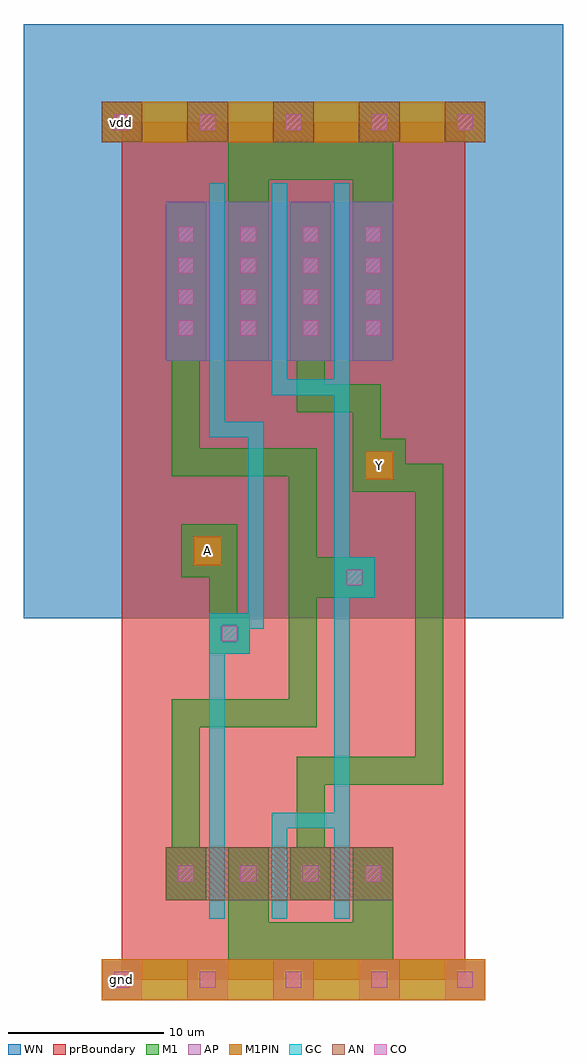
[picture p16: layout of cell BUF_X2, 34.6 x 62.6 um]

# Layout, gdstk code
import gdstk
lib = gdstk.Library(unit=1e-6, precision=1e-09)
def R(c, l, rs):  # rectangles x0, y0, x1, y1
    for r in rs: c.add(gdstk.rectangle(r[:2], r[2:], *l))
def A(c, l, x, y, w, h, nx, ny, dx, dy):  # array of equal rectangles
    R(c, l, [(x+i*dx, y+j*dy, x+i*dx+w, y+j*dy+h) for i in range(nx) for j in range(ny)])
def P(c, l, *ps):  # polygons
    for p in ps: c.add(gdstk.Polygon(p, *l))
AP = (3, 1)
AN = (3, 2)
GC = (8, 1)
CO = (11, 0)
M1 = (13, 0)
M1PIN = (48, 1)
WN = (140, 0)
prBoundary = (235, 0)

buf_x2 = lib.new_cell('BUF_X2')
A(buf_x2, AP, -1.3, -1.3, 2.6, 2.6, 5, 1, 5.5, 0)
R(buf_x2, AP, [(2.8,39.7,17.4,49.9), (2.8,39.7,17.4,49.9)])
A(buf_x2, AN, -1.3, 53.7, 2.6, 2.6, 5, 1, 5.5, 0)
R(buf_x2, AN, [(2.8,5.1,17.4,8.5)])
P(buf_x2, GC, [(5.6,3.9),(5.6,23.5),(8.1,23.5),(8.1,34.8),(5.6,34.8),(5.6,51.1),(6.6,51.1),(6.6,35.8),(9.1,35.8),(9.1,22.5),(8.2,22.5),(8.2,20.9),(6.6,20.9),(6.6,3.9)],
  [(9.6,3.9),(9.6,10.7),(13.6,10.7),(13.6,37.5),(9.6,37.5),(9.6,51.1),(10.6,51.1),(10.6,38.5),(13.6,38.5),(13.6,51.1),(14.6,51.1),(14.6,27.1),(16.2,27.1),(16.2,24.5),(14.6,24.5),(14.6,3.9),(13.6,3.9),(13.6,9.7),(10.6,9.7),(10.6,3.9)])
A(buf_x2, CO, -0.5, -0.5, 1, 1, 5, 2, 5.5, 55)
A(buf_x2, CO, 7.6, 6.3, 1, 1, 3, 2, 4, 35)
A(buf_x2, CO, 3.6, 41.3, 1, 1, 1, 4, 0, 2)
A(buf_x2, CO, 7.6, 41.3, 1, 1, 1, 4, 0, 2)
A(buf_x2, CO, 7.6, 43.3, 1, 1, 3, 3, 4, 2)
R(buf_x2, CO, [(3.6,6.3,4.6,7.3), (7.6,6.3,8.6,7.3), (6.4,21.7,7.4,22.7), (14.4,25.3,15.4,26.3)])
P(buf_x2, M1, [(-1.3,-1.3),(-1.3,1.3),(6.8,1.3),(6.8,8.5),(9.4,8.5),(9.4,3.7),(14.8,3.7),(14.8,8.5),(17.4,8.5),(17.4,1.3),(23.3,1.3),(23.3,-1.3)],
  [(5.6,20.9),(5.6,25.8),(3.8,25.8),(3.8,29.2),(7.4,29.2),(7.4,23.5),(8.2,23.5),(8.2,20.9)],
  [(2.8,5.1),(2.8,8.5),(3.2,8.5),(3.2,18),(10.7,18),(10.7,32.3),(3.2,32.3),(3.2,39.7),(2.8,39.7),(2.8,49.9),(5.4,49.9),(5.4,39.7),(5,39.7),(5,34.1),(12.5,34.1),(12.5,27.1),(16.2,27.1),(16.2,24.5),(12.5,24.5),(12.5,16.2),(5,16.2),(5,8.5),(5.4,8.5),(5.4,5.1)],
  [(10.8,5.1),(10.8,8.5),(11.2,8.5),(11.2,14.3),(18.8,14.3),(18.8,31.3),(14.8,31.3),(14.8,36.4),(11.2,36.4),(11.2,39.7),(10.8,39.7),(10.8,49.9),(13.4,49.9),(13.4,39.7),(13,39.7),(13,38.2),(16.6,38.2),(16.6,34.7),(18.2,34.7),(18.2,33.1),(20.6,33.1),(20.6,12.5),(13,12.5),(13,8.5),(13.4,8.5),(13.4,5.1)],
  [(6.8,39.7),(6.8,53.7),(-1.3,53.7),(-1.3,56.3),(23.3,56.3),(23.3,53.7),(17.4,53.7),(17.4,39.7),(14.8,39.7),(14.8,51.3),(9.4,51.3),(9.4,39.7)])
R(buf_x2, M1PIN, [(-1.3,-1.3,23.3,1.3), (4.6,26.6,6.4,28.4), (15.6,32.1,17.4,33.9), (-1.3,53.7,23.3,56.3)])
R(buf_x2, WN, [(-6.3,23.2,28.3,61.3)])
R(buf_x2, prBoundary, [(0,0,22,55)])
buf_x2.add(gdstk.Label('Y', (16.5,33), layer=48, texttype=0))
buf_x2.add(gdstk.Label('A', (5.5,27.5), layer=48, texttype=0))
buf_x2.add(gdstk.Label('vdd', (0,55), layer=48, texttype=0))
buf_x2.add(gdstk.Label('gnd', (0,0), layer=48, texttype=0))

lib.write_gds('BUF_X2.gds')
